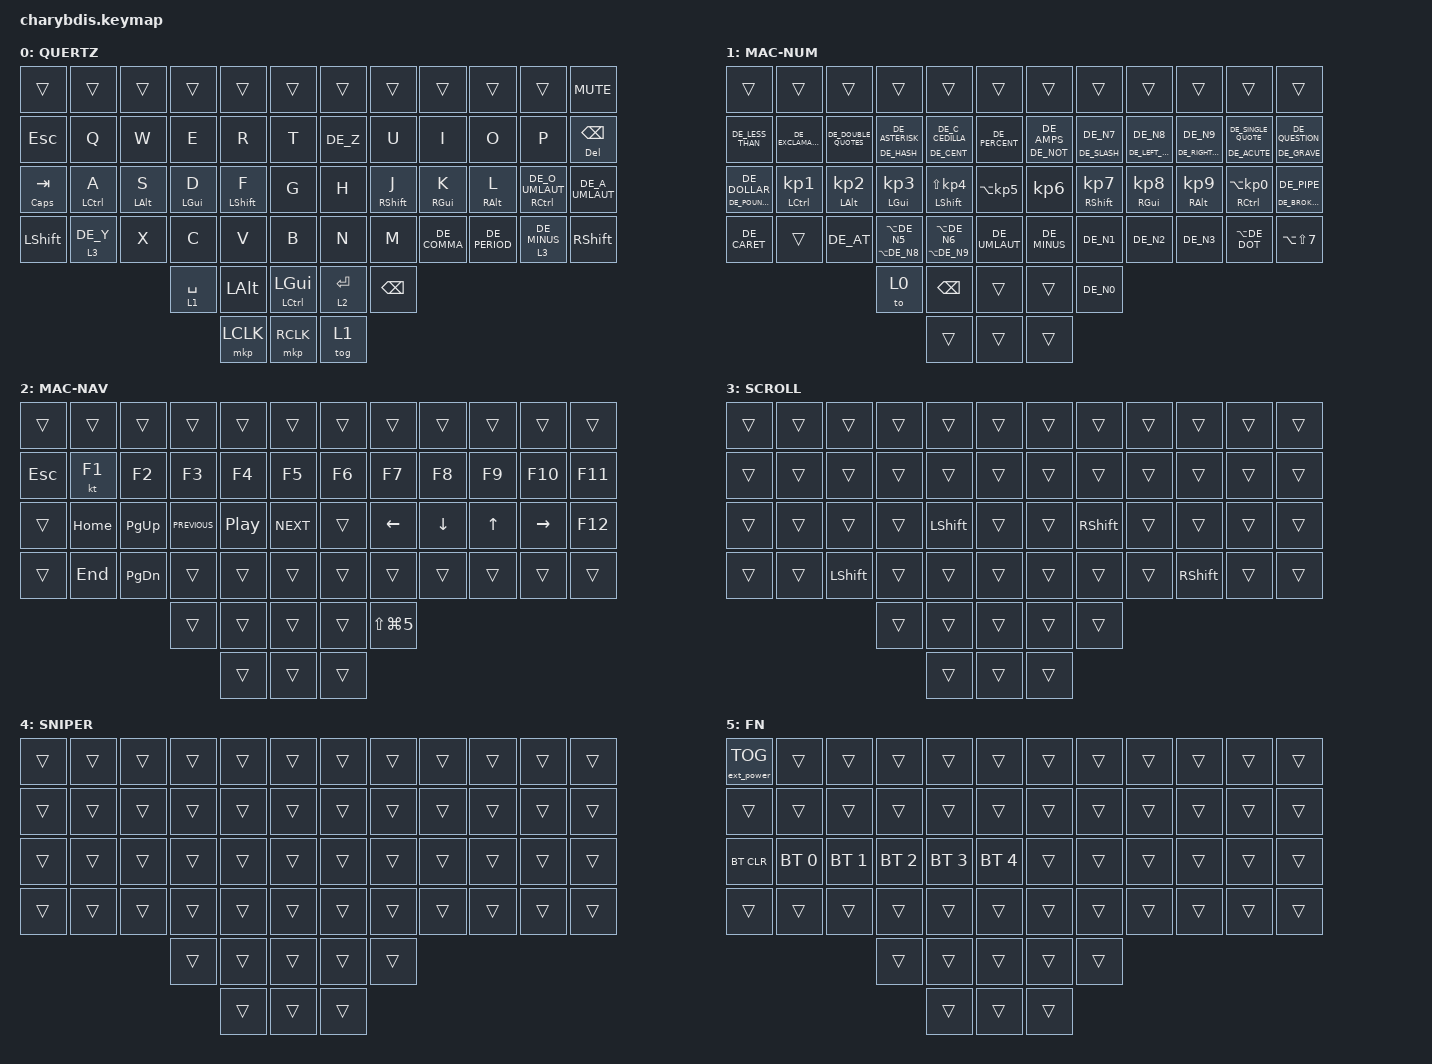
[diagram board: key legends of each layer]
#include "keys_de_swiss.h"
#include <dt-bindings/zmk/mouse.h>
#include <behaviors/mouse_keys.dtsi>
#include <behaviors.dtsi>
#include <dt-bindings/zmk/bt.h>
#include <dt-bindings/zmk/ext_power.h>
#include <dt-bindings/zmk/keys.h>
#include <dt-bindings/zmk/pointing.h>

// / {
//     chosen { zmk,matrix_transform = &default_transform; };
// };

/ {
    /* input config for mouse move mode */

    trackball_listener {
        compatible = "zmk,input-behavior-listener";
        device = <&vtrackball>;
        layers = <0 3 6>;
        evt-type = <INPUT_EV_REL>;
        x-input-code = <INPUT_REL_X>;
        y-input-code = <INPUT_REL_Y>;
        scale-multiplier = <1>;
        scale-divisor = <2>;

        // bindings = <&ib_toggle_layer 7>;
    };

    /* input config for snipe mode */

    trackball_snipe_listener {
        compatible = "zmk,input-behavior-listener";
        device = <&vtrackball>;
        layers = <10>;
        evt-type = <INPUT_EV_REL>;
        x-input-code = <INPUT_REL_X>;
        y-input-code = <INPUT_REL_Y>;
        scale-multiplier = <1>;
        scale-divisor = <4>;
    };

    /* input config for mouse scroll mode */

    trackball_scroll_listener {
        compatible = "zmk,input-behavior-listener";
        device = <&vtrackball>;
        layers = <9>;
        evt-type = <INPUT_EV_REL>;
        x-input-code = <INPUT_REL_MISC>;
        y-input-code = <INPUT_REL_WHEEL>;
        y-invert;
        bindings = <&ib_wheel_scaler 1 14>;
    };

    /* define a resolution down scaler only for INPUT_REL_WHEEL */

    ib_wheel_scaler: ib_wheel_scaler {
        compatible = "zmk,input-behavior-scaler";
        #binding-cells = <2>;
        evt-type = <INPUT_EV_REL>;
        input-code = <INPUT_REL_WHEEL>;
    };

    /* adjust cooldown waiting period for mouse key layer after activated */

    ib_toggle_layer: ib_toggle_layer {
        compatible = "zmk,input-behavior-tog-layer";
        #binding-cells = <1>;
        time-to-live-ms = <750>;
    };

    // #define QUERTZ    0
    // #define NUMBERS   1
    // #define NAV-FUN   2
    // #define MAC       3
    // #define MAC-NUM   4
    // #define MAC-NAV   5
    // #define GAME      6
    // #define GAME-NUM  7
    // #define GAME-NAV  8
    // #define SCROLL    9
    // #define SNIPER   10
    // #define FN       11

    combos {
        compatible = "zmk,combos";

        to-WIN {
            bindings = <&to 0>;
            key-positions = <50 51>;
            layers = <5>;
        };

        to-MAC {
            bindings = <&to 0>;
            key-positions = <50 51>;
            layers = <0 5>;
        };

        to-GAME {
            bindings = <&to 0>;
            key-positions = <47 36>;
            layers = <0 5>;
        };

        to-FN {
            bindings = <&to 5>;
            key-positions = <41 42>;
            layers = <0>;
        };

        caps_word {
            bindings = <&caps_word>;
            key-positions = <31 28>;
        };

        rh_leftClick {
            bindings = <&mkp LCLK>;
            key-positions = <43 44>;
        };

        rh_rightClick {
            bindings = <&mkp RCLK>;
            key-positions = <44 45>;
        };

        rh_middleClick {
            bindings = <&mkp MCLK>;
            key-positions = <44 45 43>;
        };

        lh_leftClick {
            bindings = <&mkp LCLK>;
            key-positions = <40 39>;
        };

        lh_rightClick {
            bindings = <&mkp RCLK>;
            key-positions = <38 39>;
        };

        lh_middleClick {
            bindings = <&mkp MCLK>;
            key-positions = <38 39 40>;
        };

        CAPZ {
            bindings = <&kp CAPSLOCK>;
            key-positions = <24 25>;
        };
    };

    behaviors {
        hmr: hmr {
            compatible = "zmk,behavior-hold-tap";
            label = "HMR";
            bindings = <&kp>, <&kp>;

            #binding-cells = <2>;
            tapping-term-ms = <190>;
            quick-tap-ms = <175>;
            flavor = "balanced";
            hold-trigger-key-positions = <0 1 2 3 4 5 12 13 14 15 16 17 24 25 26 27 28 29 36 37 38 39 40 41 48 49 50 53 54 51 52 55>;
            hold-trigger-on-release;
        };

        hml: hml {
            compatible = "zmk,behavior-hold-tap";
            label = "HML";
            bindings = <&kp>, <&kp>;

            #binding-cells = <2>;
            tapping-term-ms = <190>;
            quick-tap-ms = <175>;
            flavor = "balanced";
            hold-trigger-key-positions = <48 49 50 53 54 51 52 55 6 7 8 9 10 11 18 19 20 21 22 23 30 31 32 33 34 35 42 43 44 45 46 47 51 52>;
            hold-trigger-on-release;
        };
    };

    keymap {
        compatible = "zmk,keymap";

        default_layer {
            bindings = <
&trans             &trans               &trans           &trans           &trans             &trans                        &trans       &trans              &trans            &trans            &trans                          &kp K_MUTE
&kp ESC            &kp Q                &kp W            &kp E            &kp R              &kp T                         &kp DE_Z     &kp U               &kp I             &kp O             &kp P                           &hml DELETE BACKSPACE
&hmr CAPSLOCK TAB  &hml LEFT_CONTROL A  &hml LEFT_ALT S  &hml LEFT_GUI D  &hml LEFT_SHIFT F  &kp G                         &kp H        &hmr RIGHT_SHIFT J  &hmr RIGHT_GUI K  &hmr RIGHT_ALT L  &hmr RIGHT_CONTROL DE_O_UMLAUT  &kp DE_A_UMLAUT
&kp LEFT_SHIFT     &lt 3 DE_Y           &kp X            &kp C            &kp V              &kp B                         &kp N        &kp M               &kp DE_COMMA      &kp DE_PERIOD     &lt 3 DE_MINUS                  &kp RSHIFT
                                                         &lt 1 SPACE      &kp LEFT_ALT       &hml LEFT_CONTROL LEFT_GUI    &lt 2 ENTER  &kp BACKSPACE
                                                                          &mkp LCLK          &mkp RCLK                     &tog 1
            >;

            label = "QUERTZ";
        };

        mac_raise_layer {
            label = "MAC-NUM";
            bindings = <
&trans                        &trans                         &trans                     &trans                     &trans                           &trans                 &trans               &trans                        &trans                          &trans                           &trans                              &trans
&kp DE_LESS_THAN              &kp DE_EXCLAMATION             &kp DE_DOUBLE_QUOTES       &hml DE_HASH DE_ASTERISK   &hml DE_CENT DE_C_CEDILLA        &kp DE_PERCENT         &hmr DE_NOT DE_AMPS  &hmr DE_SLASH DE_N7           &hmr DE_LEFT_PARENTHESIS DE_N8  &hmr DE_RIGHT_PARENTHESIS DE_N9  &hmr DE_ACUTE DE_SINGLE_QUOTE       &hmr DE_GRAVE DE_QUESTION
&hml DE_POUND_SIGN DE_DOLLAR  &hml LEFT_CONTROL KP_NUMBER_1  &hml LEFT_ALT KP_NUMBER_2  &hml LEFT_GUI KP_NUMBER_3  &hml LEFT_SHIFT LS(KP_NUMBER_4)  &kp LA(KP_NUMBER_5)    &kp KP_NUMBER_6      &hmr RIGHT_SHIFT KP_NUMBER_7  &hmr RIGHT_GUI KP_NUMBER_8      &hmr RIGHT_ALT KP_NUMBER_9       &hmr RIGHT_CONTROL LA(KP_NUMBER_0)  &hmr DE_BROKEN_BAR DE_PIPE
&kp DE_CARET                  &trans                         &kp DE_AT                  &hml LA(DE_N8) LA(DE_N5)   &hml LA(DE_N9) LA(DE_N6)         &kp DE_UMLAUT          &kp DE_MINUS         &kp DE_N1                     &kp DE_N2                       &kp DE_N3                        &kp LA(DE_DOT)                      &kp LA(LS(NUMBER_7))
                                                                                        &to 0                      &kp BACKSPACE                    &trans                 &trans               &kp DE_N0
                                                                                                                   &trans                           &trans                 &trans
            >;
        };

        mac_lower_layer {
            label = "MAC-NAV";
            bindings = <
&trans      &trans    &trans         &trans          &trans            &trans        &trans  &trans                &trans          &trans        &trans           &trans
&kp ESCAPE  &kt F1    &kp F2         &kp F3          &kp F4            &kp F5        &kp F6  &kp F7                &kp F8          &kp F9        &kp F10          &kp F11
&trans      &kp HOME  &kp PAGE_UP    &kp C_PREVIOUS  &kp C_PLAY_PAUSE  &kp C_NEXT    &trans  &kp LEFT_ARROW        &kp DOWN_ARROW  &kp UP_ARROW  &kp RIGHT_ARROW  &kp F12
&trans      &kp END   &kp PAGE_DOWN  &trans          &trans            &trans        &trans  &trans                &trans          &trans        &trans           &trans
                                     &trans          &trans            &trans        &trans  &kp LS(LG(NUMBER_5))
                                                     &trans            &trans        &trans
            >;
        };

        scroll_layer {
            bindings = <
&trans  &trans  &trans          &trans  &trans          &trans    &trans  &trans           &trans  &trans           &trans  &trans
&trans  &trans  &trans          &trans  &trans          &trans    &trans  &trans           &trans  &trans           &trans  &trans
&trans  &trans  &trans          &trans  &kp LEFT_SHIFT  &trans    &trans  &kp RIGHT_SHIFT  &trans  &trans           &trans  &trans
&trans  &trans  &kp LEFT_SHIFT  &trans  &trans          &trans    &trans  &trans           &trans  &kp RIGHT_SHIFT  &trans  &trans
                                &trans  &trans          &trans    &trans  &trans
                                        &trans          &trans    &trans
            >;

            label = "SCROLL";
        };

        sniper_layer {
            bindings = <
&trans  &trans  &trans  &trans  &trans  &trans    &trans  &trans  &trans  &trans  &trans  &trans
&trans  &trans  &trans  &trans  &trans  &trans    &trans  &trans  &trans  &trans  &trans  &trans
&trans  &trans  &trans  &trans  &trans  &trans    &trans  &trans  &trans  &trans  &trans  &trans
&trans  &trans  &trans  &trans  &trans  &trans    &trans  &trans  &trans  &trans  &trans  &trans
                        &trans  &trans  &trans    &trans  &trans
                                &trans  &trans    &trans
            >;

            label = "SNIPER";
        };

        keeb_pref_layer {
            label = "FN";
            bindings = <
&ext_power EP_TOG  &trans        &trans        &trans        &trans        &trans          &trans  &trans  &trans  &trans  &trans  &trans
&trans             &trans        &trans        &trans        &trans        &trans          &trans  &trans  &trans  &trans  &trans  &trans
&bt BT_CLR         &bt BT_SEL 0  &bt BT_SEL 1  &bt BT_SEL 2  &bt BT_SEL 3  &bt BT_SEL 4    &trans  &trans  &trans  &trans  &trans  &trans
&trans             &trans        &trans        &trans        &trans        &trans          &trans  &trans  &trans  &trans  &trans  &trans
                                               &trans        &trans        &trans          &trans  &trans
                                                             &trans        &trans          &trans
            >;
        };
    };
};
